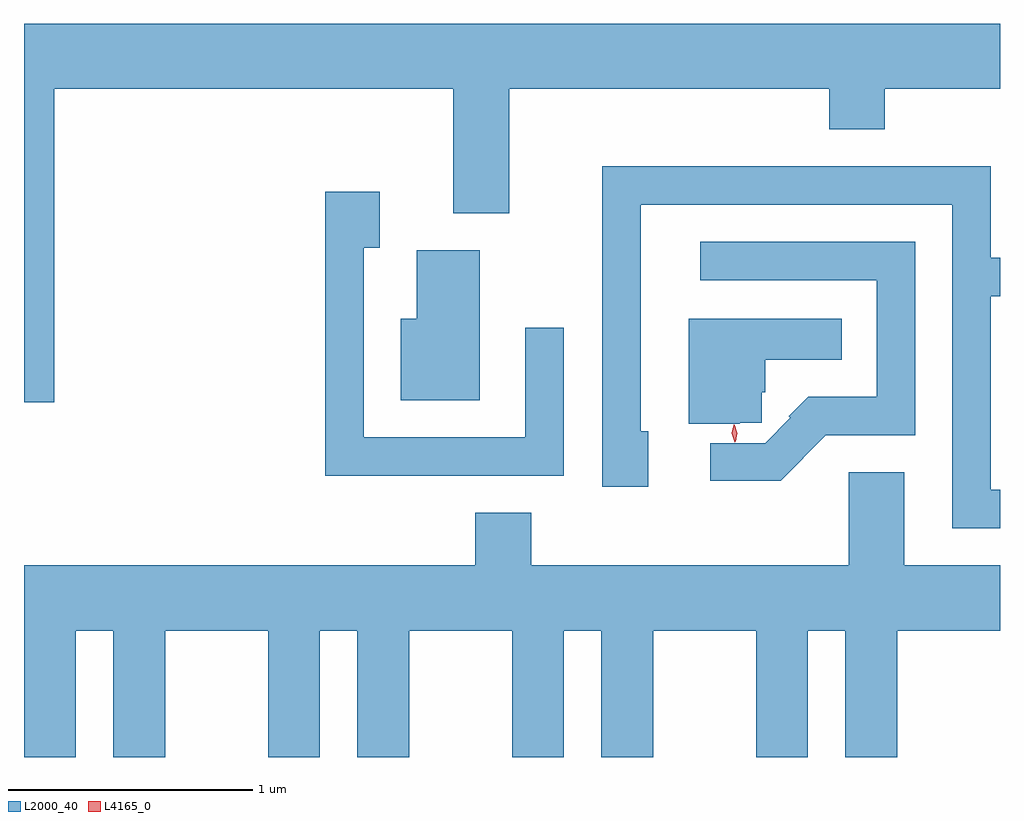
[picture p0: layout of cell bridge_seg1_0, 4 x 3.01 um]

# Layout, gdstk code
import gdstk
lib = gdstk.Library(unit=1e-6, precision=1e-09)
def P(c, l, *ps):  # polygons
    for p in ps: c.add(gdstk.Polygon(p, *l))
L2000_40 = (2000, 40)
L4165_0 = (4165, 0)

bridge_seg1_0 = lib.new_cell('bridge_seg1_0')
P(bridge_seg1_0, L2000_40, [(1479.574,866.276),(1481.211,866.276),(1481.211,865.766),(1481.439,865.766),(1481.439,866.276),(1482.751,866.276),(1482.751,866.111),(1482.979,866.111),(1482.979,866.276),(1483.451,866.276),(1483.451,866.544),(1479.451,866.544),(1479.451,864.991),(1479.574,864.991)],
  [(1483.451,864.634),(1483.414,864.634),(1483.414,865.426),(1483.451,865.426),(1483.451,865.584),(1483.414,865.584),(1483.414,865.959),(1481.821,865.959),(1481.821,864.646),(1482.009,864.646),(1482.009,864.874),(1481.979,864.874),(1481.979,865.801),(1483.256,865.801),(1483.256,864.476),(1483.451,864.476)],
  [(1481.664,865.298),(1481.506,865.298),(1481.506,864.849),(1480.844,864.849),(1480.844,865.626),(1480.909,865.626),(1480.909,865.854),(1480.686,865.854),(1480.686,864.691),(1481.664,864.691)],
  [(1482.737,864.856),(1483.104,864.856),(1483.104,865.649),(1482.223,865.649),(1482.223,865.491),(1482.946,865.491),(1482.946,865.014),(1482.665,865.014),(1482.586,864.935),(1482.592,864.929),(1482.488,864.824),(1482.263,864.824),(1482.263,864.671),(1482.552,864.671)],
  [(1481.319,865.614),(1481.061,865.614),(1481.061,865.334),(1480.996,865.334),(1480.996,865.001),(1481.319,865.001)],
  [(1482.384,864.908),(1482.474,864.908),(1482.474,865.033),(1482.488,865.033),(1482.488,865.166),(1482.803,865.166),(1482.803,865.334),(1482.176,865.334),(1482.176,864.903),(1482.384,864.903)],
  [(1479.451,863.536),(1479.664,863.536),(1479.664,864.056),(1479.816,864.056),(1479.816,863.536),(1480.029,863.536),(1480.029,864.056),(1480.451,864.056),(1480.451,863.536),(1480.664,863.536),(1480.664,864.056),(1480.816,864.056),(1480.816,863.536),(1481.029,863.536),(1481.029,864.056),(1481.451,864.056),(1481.451,863.536),(1481.664,863.536),(1481.664,864.056),(1481.816,864.056),(1481.816,863.536),(1482.029,863.536),(1482.029,864.056),(1482.451,864.056),(1482.451,863.536),(1482.664,863.536),(1482.664,864.056),(1482.816,864.056),(1482.816,863.536),(1483.029,863.536),(1483.029,864.056),(1483.451,864.056),(1483.451,864.324),(1483.059,864.324),(1483.059,864.704),(1482.831,864.704),(1482.831,864.324),(1481.529,864.324),(1481.529,864.539),(1481.301,864.539),(1481.301,864.324),(1479.451,864.324)])
P(bridge_seg1_0, L4165_0, [(1482.366,864.83),(1482.366,864.831),(1482.355,864.864),(1482.362,864.897),(1482.363,864.898),(1482.363,864.897),(1482.374,864.864),(1482.367,864.831)],
  [(1482.363,864.828),(1482.352,864.864),(1482.36,864.899),(1482.36,864.9),(1482.361,864.899),(1482.372,864.864),(1482.364,864.828),(1482.364,864.828)])

lib.write_gds('bridge_seg1_0.gds')
